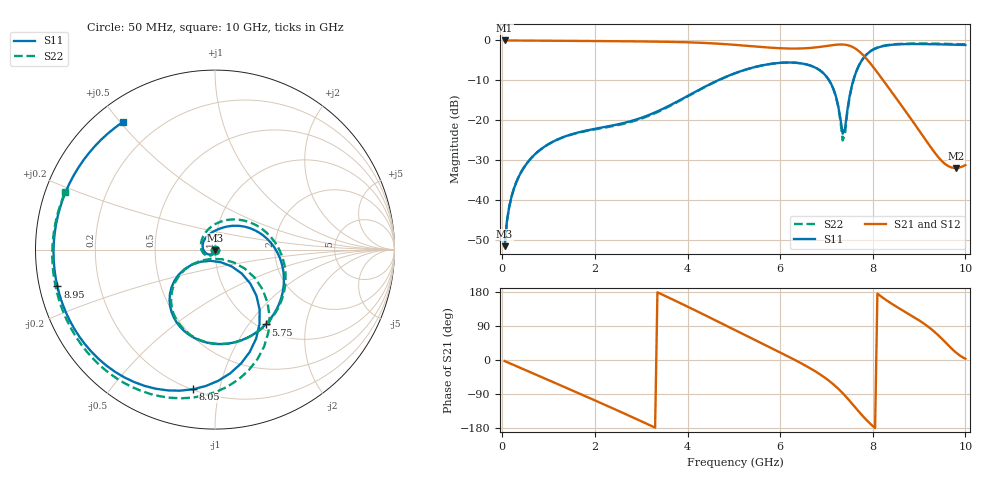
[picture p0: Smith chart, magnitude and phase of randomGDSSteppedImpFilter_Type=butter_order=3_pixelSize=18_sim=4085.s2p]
! freq	dB(S11)	phase(S11)	dB(S12)	phase(S12)
!  dB(S21)	phase(S21)	dB(S22)	phase(S22)
!S-par simulation data
#  GHz  S  DB  R 50
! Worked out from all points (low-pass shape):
!   200 points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, 50 MHz to 10 GHz, reference 50 ohm
!   highest |S21| = -0.01 dB at 50 MHz (marker M1); lowest = -32.0 dB at 9.8 GHz (marker M2)
!   |S21| within 3 dB of the highest: start of sweep to 7.731 GHz
!   lowest |S11| = -51.6 dB at 50 MHz (marker M3), VSWR 1.01, Z = 50 - j0.263 ohm
!   |S11| at or under -10 dB: start of sweep to 4.658 GHz; 7.057 GHz to 7.581 GHz (524.9 MHz wide, 7.17 % of centre)
!   |S22| runs from -51.6 to -0.8 dB; largest |S21 - S12| = 0
!   S11 on the Smith chart (normalised r, x): 50 MHz: 1.00, -0.01; 5.75 GHz: 1.08, -1.21; 8.05 GHz: 0.20, -0.83; 8.95 GHz: 0.05, -0.12; 10 GHz: 0.08, +0.51
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0.05  -51.60 -89.2  -0.01 -2.7  -0.01 -2.7  -51.57 -88.5
0.1  -45.35 -92.9  -0.01 -5.4  -0.01 -5.4  -45.33 -91.4
0.2  -39.16 -100.1  -0.02 -10.7  -0.02 -10.7  -39.13 -97.1
0.5  -31.31 -120.0  -0.04 -26.6  -0.04 -26.6  -31.29 -112.5
1.15  -25.07 -161.1  -0.09 -61.1  -0.09 -61.1  -25.09 -143.3
1.75  -22.77 161.0  -0.13 -93.1  -0.13 -93.1  -22.86 -170.8
2.7  -20.48 103.9  -0.22 -144.8  -0.22 -144.8  -20.69 141.9
3.4  -17.52 68.7  -0.31 175.8  -0.31 175.8  -17.71 98.5
4.3  -12.06 25.1  -0.60 123.0  -0.60 123.0  -12.15 37.8
5.05  -8.11 -15.7  -1.13 77.4  -1.13 77.4  -8.14 -11.0
5.75  -5.96 -56.0  -1.78 34.9  -1.78 34.9  -5.97 -54.1
6.7  -6.51 -114.2  -1.83 -25.6  -1.83 -25.6  -6.50 -112.5
7.15  -12.17 -145.3  -1.15 -64.3  -1.15 -64.3  -12.21 -144.1
7.25  -16.21 -146.9  -1.04 -75.2  -1.04 -75.2  -16.40 -147.2
7.35  -23.39 -112.5  -1.02 -87.4  -1.02 -87.4  -25.07 -113.2
7.5  -13.98 -41.8  -1.33 -107.7  -1.33 -107.7  -14.15 -32.5
7.65  -7.61 -53.4  -2.24 -129.2  -2.24 -129.2  -7.61 -45.3
8.05  -2.07 -99.0  -7.28 -179.6  -7.28 -179.6  -2.01 -89.6
8.35  -1.18 -125.5  -12.00 153.1  -12.00 153.1  -1.10 -114.1
8.95  -0.90 -166.8  -21.74 108.5  -21.74 108.5  -0.78 -149.5
9.8  -1.08 139.2  -31.99 19.4  -31.99 19.4  -0.91 168.9
10  -1.14 125.8  -31.27 3.3  -31.27 3.3  -0.97 159.1
